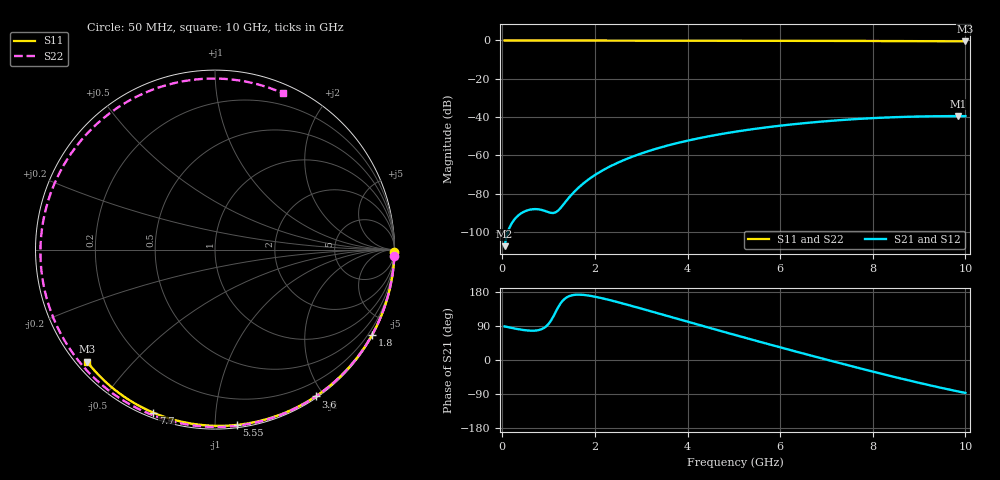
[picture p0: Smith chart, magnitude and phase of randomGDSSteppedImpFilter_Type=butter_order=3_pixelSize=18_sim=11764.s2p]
! freq	dB(S11)	phase(S11)	dB(S12)	phase(S12)
!  dB(S21)	phase(S21)	dB(S22)	phase(S22)
!S-par simulation data
#  GHz  S  DB  R 50
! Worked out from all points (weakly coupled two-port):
!   200 points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, 50 MHz to 10 GHz, reference 50 ohm
!   highest |S21| = -39.47 dB at 9.85 GHz (marker M1); lowest = -107.3 dB at 50 MHz (marker M2)
!   lowest |S11| = -0.5 dB at 10 GHz (marker M3), VSWR 36.92, Z = 1.55 - j18.8 ohm
!   |S11| at or under -10 dB: nowhere
!   |S22| runs from -0.4 to 0.0 dB; largest |S21 - S12| = 0
!   S11 on the Smith chart (normalised r, x): 50 MHz: open; 1.8 GHz: 0.03, -3.94; 3.6 GHz: 0.02, -1.90; 5.55 GHz: 0.02, -1.13; 7.7 GHz: 0.02, -0.69; 10 GHz: 0.03, -0.38
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0.05  -0.00 -0.8  -107.33 88.6  -107.33 88.6  -0.00 -2.0
0.35  -0.01 -5.6  -91.22 81.2  -91.22 81.2  -0.02 -13.7
0.7  -0.01 -11.2  -88.00 77.4  -88.00 77.4  -0.03 -27.2
1.1  -0.02 -17.5  -90.03 114.3  -90.03 114.3  -0.05 -42.3
1.5  -0.03 -23.8  -80.35 170.6  -80.35 170.6  -0.07 -56.8
1.75  -0.04 -27.7  -74.61 171.8  -74.61 171.8  -0.08 -65.6
1.8  -0.04 -28.5  -73.64 171.1  -73.64 171.1  -0.08 -67.4
2.1  -0.04 -33.1  -68.72 164.5  -68.72 164.5  -0.09 -77.5
2.5  -0.05 -39.2  -63.72 152.4  -63.72 152.4  -0.10 -90.5
2.95  -0.06 -46.0  -59.40 137.4  -59.40 137.4  -0.12 -104.4
3.4  -0.07 -52.7  -55.95 122.0  -55.95 122.0  -0.14 -117.6
3.6  -0.07 -55.6  -54.63 115.0  -54.63 115.0  -0.14 -123.3
4.35  -0.09 -66.4  -50.51 89.1  -50.51 89.1  -0.17 -143.5
5.05  -0.12 -76.1  -47.55 65.2  -47.55 65.2  -0.20 -161.5
5.55  -0.14 -82.9  -45.81 48.4  -45.81 48.4  -0.23 -174.0
6.1  -0.16 -90.3  -44.20 30.2  -44.20 30.2  -0.26 172.3
6.7  -0.19 -98.1  -42.74 10.6  -42.74 10.6  -0.29 157.4
7.7  -0.25 -110.7  -40.92 -21.3  -40.92 -21.3  -0.35 131.7
8.35  -0.30 -118.8  -40.14 -41.2  -40.14 -41.2  -0.38 114.3
9.1  -0.37 -127.9  -39.62 -63.1  -39.62 -63.1  -0.41 93.2
9.85  -0.45 -137.0  -39.47 -83.2  -39.47 -83.2  -0.44 71.0
10  -0.47 -138.8  -39.47 -87.0  -39.47 -87.0  -0.45 66.5
